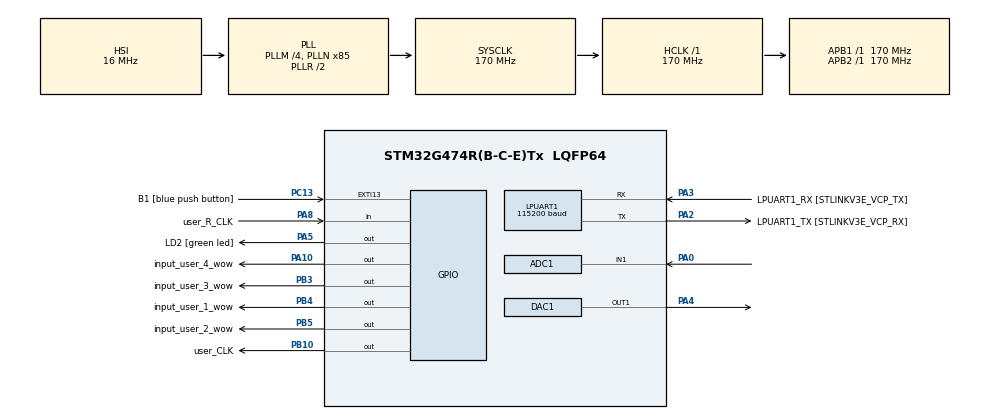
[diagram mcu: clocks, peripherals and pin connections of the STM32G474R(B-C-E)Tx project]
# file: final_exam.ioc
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ADC1.Channel-0\#ChannelRegularConversion=ADC_CHANNEL_1
ADC1.NbrOfConversionFlag=1
ADC1.OffsetNumber-0\#ChannelRegularConversion=ADC_OFFSET_NONE
ADC1.Rank-0\#ChannelRegularConversion=1
ADC1.SamplingTime-0\#ChannelRegularConversion=ADC_SAMPLETIME_2CYCLES_5
ADC1.master=1
LPUART1.BaudRate=115200
LPUART1.WordLength=UART_WORDLENGTH_8B
Mcu.Family=STM32G4
Mcu.Name=STM32G474R(B-C-E)Tx
Mcu.Package=LQFP64
NVIC.EXTI15_10_IRQn=true\:0\:0\:false\:false\:true\:true\:true\:true
NVIC.PriorityGroup=NVIC_PRIORITYGROUP_4
PA0.Mode=IN1-Single-Ended
PA0.Signal=ADC1_IN1
PA10.GPIO_Label=input_user_4_wow
PA10.GPIO_ModeDefaultOutputPP=GPIO_MODE_OUTPUT_OD
PA10.GPIO_PuPd=GPIO_PULLUP
PA10.Signal=GPIO_Output
PA13.GPIO_Label=T_SWDIO
PA13.Mode=Serial_Wire
PA13.Signal=SYS_JTMS-SWDIO
PA14.GPIO_Label=T_SWCLK
PA14.Mode=Serial_Wire
PA14.Signal=SYS_JTCK-SWCLK
PA2.GPIO_Label=LPUART1_TX [STLINKV3E_VCP_RX]
PA2.Mode=Asynchronous
PA2.Signal=LPUART1_TX
PA3.GPIO_Label=LPUART1_RX [STLINKV3E_VCP_TX]
PA3.Mode=Asynchronous
PA3.Signal=LPUART1_RX
PA4.Signal=COMP_DAC11_group
PA5.GPIO_Label=LD2 [green led]
PA5.GPIO_ModeDefaultOutputPP=GPIO_MODE_OUTPUT_OD
PA5.GPIO_PuPd=GPIO_PULLUP
PA5.Signal=GPIO_Output
PA8.GPIO_Label=user_R_CLK
PA8.Signal=GPIO_Input
PB10.GPIO_Label=user_CLK
PB10.Signal=GPIO_Output
PB3.GPIO_Label=input_user_3_wow
PB3.GPIO_ModeDefaultOutputPP=GPIO_MODE_OUTPUT_OD
PB3.GPIO_PuPd=GPIO_PULLUP
PB3.Signal=GPIO_Output
PB4.GPIO_Label=input_user_1_wow
PB4.GPIO_ModeDefaultOutputPP=GPIO_MODE_OUTPUT_OD
PB4.GPIO_PuPd=GPIO_PULLUP
PB4.Signal=GPIO_Output
PB5.GPIO_Label=input_user_2_wow
PB5.GPIO_ModeDefaultOutputPP=GPIO_MODE_OUTPUT_OD
PB5.GPIO_PuPd=GPIO_PULLUP
PB5.Signal=GPIO_Output
PC13.GPIO_Label=B1 [blue push button]
PC13.GPIO_PuPd=GPIO_PULLUP
PC13.Signal=GPXTI13
PC14-OSC32_IN.Mode=LSE-External-Oscillator
PC14-OSC32_IN.Signal=RCC_OSC32_IN
PC15-OSC32_OUT.Mode=LSE-External-Oscillator
PC15-OSC32_OUT.Signal=RCC_OSC32_OUT
PF0-OSC_IN.Mode=HSE-External-Oscillator
PF0-OSC_IN.Signal=RCC_OSC_IN
PF1-OSC_OUT.Mode=HSE-External-Oscillator
PF1-OSC_OUT.Signal=RCC_OSC_OUT
ProjectManager.HeapSize=0x200
ProjectManager.StackSize=0x400
ProjectManager.TargetToolchain=STM32CubeIDE
RCC.ADC12Freq_Value=170000000
RCC.ADC345Freq_Value=170000000
RCC.AHBFreq_Value=170000000
RCC.APB1Freq_Value=170000000
RCC.APB1TimFreq_Value=170000000
RCC.APB2Freq_Value=170000000
RCC.APB2TimFreq_Value=170000000
RCC.CortexFreq_Value=170000000
RCC.EXTERNAL_CLOCK_VALUE=12288000
RCC.HCLKFreq_Value=170000000
RCC.HSE_VALUE=24000000
RCC.HSI48_VALUE=48000000
RCC.HSI_VALUE=16000000
RCC.PLLM=RCC_PLLM_DIV4
RCC.PLLN=85
RCC.RTCClockSelection=RCC_RTCCLKSOURCE_LSE
RCC.SYSCLKFreq_VALUE=170000000
RCC.SYSCLKSource=RCC_SYSCLKSOURCE_PLLCLK
RCC.USBFreq_Value=170000000
RCC.VCOOutputFreq_Value=340000000
SH.COMP_DAC11_group.0=DAC1_OUT1,DAC_OUT1
VP_SYS_VS_DBSignals.Mode=DisableDeadBatterySignals
board=NUCLEO-G474RE

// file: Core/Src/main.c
/* USER CODE BEGIN Header */
/**
  ******************************************************************************
  * @file           : main.c
  * @brief          : Main program body
  ******************************************************************************
  * @attention
  *
  * Copyright (c) 2023 STMicroelectronics.
  * All rights reserved.
  *
  * This software is licensed under terms that can be found in the LICENSE file
  * in the root directory of this software component.
  * If no LICENSE file comes with this software, it is provided AS-IS.
  *
  ******************************************************************************
  */
/* USER CODE END Header */
#include "main.h"

ADC_HandleTypeDef hadc1;

DAC_HandleTypeDef hdac1;

UART_HandleTypeDef hlpuart1;

/* USER CODE BEGIN PV */
uint16_t DAC_Output=0;
const uint8_t myID = 54;
const uint8_t cal_myID = (myID *73) % 100;
uint16_t ID_bit = (myID*100) + cal_myID;
int bit[4] = {};
int a[4] = {};
uint16_t temp = 0;
int j = 0;
uint16_t harn = 0;
int p2 = 3;
int o2 = 0;
unit_32_t Scret_code = 0;
/* USER CODE BEGIN PV */
struct _ADC_tag
{
ADC_ChannelConfTypeDef Config;
uint16_t data;
};
struct _ADC_tag ADC1_Channel[1] =
{
{
.Config.Channel = ADC_CHANNEL_1,
.Config.Rank = ADC_REGULAR_RANK_1,
.Config.SamplingTime = ADC_SAMPLETIME_640CYCLES_5,
.Config.SingleDiff = ADC_SINGLE_ENDED,
.Config.OffsetNumber = ADC_OFFSET_NONE,
.Config.Offset = 0,
.data = 0
}
};

/* USER CODE END PV */

void SystemClock_Config(void);
static void MX_GPIO_Init(void);
static void MX_LPUART1_UART_Init(void);
static void MX_ADC1_Init(void);
static void MX_DAC1_Init(void);
/* USER CODE BEGIN PFP */
void DAC_Update();
void ADC_Read_blocking();
/* USER CODE END PFP */

int main(void)
{

  /* MCU Configuration--------------------------------------------------------*/

  /* Reset of all peripherals, Initializes the Flash interface and the Systick. */
  HAL_Init();

  /* Configure the system clock */
  SystemClock_Config();

  /* Initialize all configured peripherals */
  MX_GPIO_Init();
  MX_LPUART1_UART_Init();
  MX_ADC1_Init();
  MX_DAC1_Init();
  /* USER CODE BEGIN 2 */
  HAL_DAC_SetValue(&hdac1, DAC_CHANNEL_1, DAC_ALIGN_12B_R, 2048);
  HAL_DAC_Start(&hdac1, DAC_CHANNEL_1);
  HAL_ADCEx_Calibration_Start(&hadc1, ADC_SINGLE_ENDED);
  /* USER CODE END 2 */

  /* Infinite loop */
  /* USER CODE BEGIN WHILE */
  for(int p = 0;p <= 4;p++)
  	  	{
  	  		bit[p2] = ID_bit % 10;
  	  		ID_bit = ID_bit / 10;
  	  		p2--;
  	 }
void task1()
{
  HAL_GPIO_WritePin(GPIOB, GPIO_PIN_10, 1);
  static uint32_t TimeStamp2 = 0;
  	  if( HAL_GetTick()<TimeStamp2) return;
  	  TimeStamp2 = HAL_GetTick()+100;
  for(int o = 0;o<= 4;o++)
	{
	  j = 0;
	  for(int i = 3;i>=0;i--)
	  {
		 a[j] = ((bit[o2]) >> i) & 1;
	  	 j++;
	  }
	  HAL_GPIO_WritePin(GPIOB, GPIO_PIN_4, a[0]);
	  HAL_GPIO_WritePin(GPIOB, GPIO_PIN_5, a[1]);
	  HAL_GPIO_WritePin(GPIOB, GPIO_PIN_3, a[2]);
	  HAL_GPIO_WritePin(GPIOA, GPIO_PIN_10, a[3]);

	  HAL_GPIO_WritePin(GPIOB, GPIO_PIN_10, 0);

	  static uint32_t TimeStamp = 0;
	  if( HAL_GetTick()<TimeStamp) return;
	  TimeStamp = HAL_GetTick()+100;

	  HAL_GPIO_WritePin(GPIOB, GPIO_PIN_10, 1);

	  static uint32_t TimeStamp2 = 0;
	  if( HAL_GetTick()<TimeStamp2) return;
	  TimeStamp2 = HAL_GetTick()+500;

//	  if (o2 == 4)
//	  {
//		  break;
//	  }
	  o2++;
	}
}
void task2()
{

	HAL_GPIO_WritePin(GPIOB, GPIO_PIN_4, RESET);
	HAL_GPIO_WritePin(GPIOB, GPIO_PIN_5, RESET);
	HAL_GPIO_WritePin(GPIOB, GPIO_PIN_3, RESET);
	HAL_GPIO_WritePin(GPIOA, GPIO_PIN_10, RESET);
	HAL_GPIO_ReadPin(GPIOA, GPIO_PIN_8);

	int s1 = HAL_GPIO_ReadPin(GPIOB, GPIO_PIN_4);
	int s2 =HAL_GPIO_ReadPin(GPIOB, GPIO_PIN_5);
	int s3 =HAL_GPIO_ReadPin(GPIOB, GPIO_PIN_3);
	int s4 =HAL_GPIO_ReadPin(GPIOA, GPIO_PIN_10);

	for(int o = 0;o<= 4;o++)
		{
		  j = 0;
		  for(int i = 3;i>=0;i--)
		  {
			 a[j] = ((bit[o2]) << i) & 1;
		  	 j++;
		  }

}
void task3()
{
	void DAC_Update()
	{
	static uint32_t timeStamp =0;
	if(HAL_GetTick()>timeStamp)
	{
	timeStamp = HAL_GetTick()+500;
	HAL_DAC_SetValue(&hdac1, DAC_CHANNEL_1, DAC_ALIGN_12B_R, DAC_Output);
	}
	}
	HAL_DAC_SetValue(&hdac1, DAC_CHANNEL_1, DAC_ALIGN_12B_R, 1.70);
	HAL_GPIO_WritePin(GPIOB, GPIO_PIN_10, 0);
	  static uint32_t TimeStamp = 0;
	  	  if( HAL_GetTick()<TimeStamp) return;
	  	  TimeStamp = HAL_GetTick()+100;
	HAL_GPIO_WritePin(GPIOB, GPIO_PIN_10, 1);
		  static uint32_t TimeStamp = 0;
			  if( HAL_GetTick()<TimeStamp) return;
			  TimeStamp = HAL_GetTick()+500;
  HAL_DAC_SetValue(&hdac1, DAC_CHANNEL_1, DAC_ALIGN_12B_R, 1.40);
	HAL_GPIO_WritePin(GPIOB, GPIO_PIN_10, 0);
	  static uint32_t TimeStamp2 = 0;
		  if( HAL_GetTick()<TimeStamp2) return;
		  TimeStamp2 = HAL_GetTick()+100;
	HAL_GPIO_WritePin(GPIOB, GPIO_PIN_10, 1);
		  static uint32_t TimeStamp2 = 0;
			  if( HAL_GetTick()<TimeStamp2) return;
			  TimeStamp2 = HAL_GetTick()+500;
	HAL_DAC_SetValue(&hdac1, DAC_CHANNEL_1, DAC_ALIGN_12B_R, 1.40);
		HAL_GPIO_WritePin(GPIOB, GPIO_PIN_10, 0);
		  static uint32_t TimeStamp2 = 0;
			  if( HAL_GetTick()<TimeStamp2) return;
			  TimeStamp2 = HAL_GetTick()+100;
	HAL_GPIO_WritePin(GPIOB, GPIO_PIN_10, 1);
		  static uint32_t TimeStamp2 = 0;
			  if( HAL_GetTick()<TimeStamp2) return;
			  TimeStamp2 = HAL_GetTick()+500;
	HAL_DAC_SetValue(&hdac1, DAC_CHANNEL_1, DAC_ALIGN_12B_R, 0.70);
		HAL_GPIO_WritePin(GPIOB, GPIO_PIN_10, 0);
	  static uint32_t TimeStamp2 = 0;
		  if( HAL_GetTick()<TimeStamp2) return;
		  TimeStamp2 = HAL_GetTick()+100;
	HAL_GPIO_WritePin(GPIOB, GPIO_PIN_10, 1);
		  static uint32_t TimeStamp2 = 0;
			  if( HAL_GetTick()<TimeStamp2) return;
			  TimeStamp2 = HAL_GetTick()+500;

}
void task4()
{
	ADC_Read_blocking();
}

  while (1)
  {
	  static uint32_t TimeStamp3 = 0;
	  if( HAL_GetTick()<TimeStamp3) return;
	  TimeStamp3 = HAL_GetTick()+100;
	  task3();
    /* USER CODE END WHILE */

  }
}

void SystemClock_Config(void)
{
  RCC_OscInitTypeDef RCC_OscInitStruct = {0};
  RCC_ClkInitTypeDef RCC_ClkInitStruct = {0};

  /** Configure the main internal regulator output voltage
  */
  HAL_PWREx_ControlVoltageScaling(PWR_REGULATOR_VOLTAGE_SCALE1_BOOST);

  /** Initializes the RCC Oscillators according to the specified parameters
  * in the RCC_OscInitTypeDef structure.
  */
  RCC_OscInitStruct.OscillatorType = RCC_OSCILLATORTYPE_HSI;
  RCC_OscInitStruct.HSIState = RCC_HSI_ON;
  RCC_OscInitStruct.HSICalibrationValue = RCC_HSICALIBRATION_DEFAULT;
  RCC_OscInitStruct.PLL.PLLState = RCC_PLL_ON;
  RCC_OscInitStruct.PLL.PLLSource = RCC_PLLSOURCE_HSI;
  RCC_OscInitStruct.PLL.PLLM = RCC_PLLM_DIV4;
  RCC_OscInitStruct.PLL.PLLN = 85;
  RCC_OscInitStruct.PLL.PLLP = RCC_PLLP_DIV2;
  RCC_OscInitStruct.PLL.PLLQ = RCC_PLLQ_DIV2;
  RCC_OscInitStruct.PLL.PLLR = RCC_PLLR_DIV2;
  if (HAL_RCC_OscConfig(&RCC_OscInitStruct) != HAL_OK)
  {
    Error_Handler();
  }

  /** Initializes the CPU, AHB and APB buses clocks
  */
  RCC_ClkInitStruct.ClockType = RCC_CLOCKTYPE_HCLK|RCC_CLOCKTYPE_SYSCLK
                              |RCC_CLOCKTYPE_PCLK1|RCC_CLOCKTYPE_PCLK2;
  RCC_ClkInitStruct.SYSCLKSource = RCC_SYSCLKSOURCE_PLLCLK;
  RCC_ClkInitStruct.AHBCLKDivider = RCC_SYSCLK_DIV1;
  RCC_ClkInitStruct.APB1CLKDivider = RCC_HCLK_DIV1;
  RCC_ClkInitStruct.APB2CLKDivider = RCC_HCLK_DIV1;

  if (HAL_RCC_ClockConfig(&RCC_ClkInitStruct, FLASH_LATENCY_4) != HAL_OK)
  {
    Error_Handler();
  }
}

static void MX_ADC1_Init(void)
{

  ADC_MultiModeTypeDef multimode = {0};
  ADC_ChannelConfTypeDef sConfig = {0};

  /** Common config
  */
  hadc1.Instance = ADC1;
  hadc1.Init.ClockPrescaler = ADC_CLOCK_SYNC_PCLK_DIV4;
  hadc1.Init.Resolution = ADC_RESOLUTION_12B;
  hadc1.Init.DataAlign = ADC_DATAALIGN_RIGHT;
  hadc1.Init.GainCompensation = 0;
  hadc1.Init.ScanConvMode = ADC_SCAN_DISABLE;
  hadc1.Init.EOCSelection = ADC_EOC_SINGLE_CONV;
  hadc1.Init.LowPowerAutoWait = DISABLE;
  hadc1.Init.ContinuousConvMode = DISABLE;
  hadc1.Init.NbrOfConversion = 1;
  hadc1.Init.DiscontinuousConvMode = DISABLE;
  hadc1.Init.ExternalTrigConv = ADC_SOFTWARE_START;
  hadc1.Init.ExternalTrigConvEdge = ADC_EXTERNALTRIGCONVEDGE_NONE;
  hadc1.Init.DMAContinuousRequests = DISABLE;
  hadc1.Init.Overrun = ADC_OVR_DATA_PRESERVED;
  hadc1.Init.OversamplingMode = DISABLE;
  if (HAL_ADC_Init(&hadc1) != HAL_OK)
  {
    Error_Handler();
  }

  /** Configure the ADC multi-mode
  */
  multimode.Mode = ADC_MODE_INDEPENDENT;
  if (HAL_ADCEx_MultiModeConfigChannel(&hadc1, &multimode) != HAL_OK)
  {
    Error_Handler();
  }

  /** Configure Regular Channel
  */
  sConfig.Channel = ADC_CHANNEL_1;
  sConfig.Rank = ADC_REGULAR_RANK_1;
  sConfig.SamplingTime = ADC_SAMPLETIME_2CYCLES_5;
  sConfig.SingleDiff = ADC_SINGLE_ENDED;
  sConfig.OffsetNumber = ADC_OFFSET_NONE;
  sConfig.Offset = 0;
  if (HAL_ADC_ConfigChannel(&hadc1, &sConfig) != HAL_OK)
  {
    Error_Handler();
  }

}

static void MX_DAC1_Init(void)
{

  DAC_ChannelConfTypeDef sConfig = {0};

  /** DAC Initialization
  */
  hdac1.Instance = DAC1;
  if (HAL_DAC_Init(&hdac1) != HAL_OK)
  {
    Error_Handler();
  }

  /** DAC channel OUT1 config
  */
  sConfig.DAC_HighFrequency = DAC_HIGH_FREQUENCY_INTERFACE_MODE_AUTOMATIC;
  sConfig.DAC_DMADoubleDataMode = DISABLE;
  sConfig.DAC_SignedFormat = DISABLE;
  sConfig.DAC_SampleAndHold = DAC_SAMPLEANDHOLD_DISABLE;
  sConfig.DAC_Trigger = DAC_TRIGGER_NONE;
  sConfig.DAC_Trigger2 = DAC_TRIGGER_NONE;
  sConfig.DAC_OutputBuffer = DAC_OUTPUTBUFFER_ENABLE;
  sConfig.DAC_ConnectOnChipPeripheral = DAC_CHIPCONNECT_EXTERNAL;
  sConfig.DAC_UserTrimming = DAC_TRIMMING_FACTORY;
  if (HAL_DAC_ConfigChannel(&hdac1, &sConfig, DAC_CHANNEL_1) != HAL_OK)
  {
    Error_Handler();
  }

}

static void MX_LPUART1_UART_Init(void)
{

  hlpuart1.Instance = LPUART1;
  hlpuart1.Init.BaudRate = 115200;
  hlpuart1.Init.WordLength = UART_WORDLENGTH_8B;
  hlpuart1.Init.StopBits = UART_STOPBITS_1;
  hlpuart1.Init.Parity = UART_PARITY_NONE;
  hlpuart1.Init.Mode = UART_MODE_TX_RX;
  hlpuart1.Init.HwFlowCtl = UART_HWCONTROL_NONE;
  hlpuart1.Init.OneBitSampling = UART_ONE_BIT_SAMPLE_DISABLE;
  hlpuart1.Init.ClockPrescaler = UART_PRESCALER_DIV1;
  hlpuart1.AdvancedInit.AdvFeatureInit = UART_ADVFEATURE_NO_INIT;
  if (HAL_UART_Init(&hlpuart1) != HAL_OK)
  {
    Error_Handler();
  }
  if (HAL_UARTEx_SetTxFifoThreshold(&hlpuart1, UART_TXFIFO_THRESHOLD_1_8) != HAL_OK)
  {
    Error_Handler();
  }
  if (HAL_UARTEx_SetRxFifoThreshold(&hlpuart1, UART_RXFIFO_THRESHOLD_1_8) != HAL_OK)
  {
    Error_Handler();
  }
  if (HAL_UARTEx_DisableFifoMode(&hlpuart1) != HAL_OK)
  {
    Error_Handler();
  }

}

static void MX_GPIO_Init(void)
{
  GPIO_InitTypeDef GPIO_InitStruct = {0};

  /* GPIO Ports Clock Enable */
  __HAL_RCC_GPIOC_CLK_ENABLE();
  __HAL_RCC_GPIOF_CLK_ENABLE();
  __HAL_RCC_GPIOA_CLK_ENABLE();
  __HAL_RCC_GPIOB_CLK_ENABLE();

  /*Configure GPIO pin Output Level */
  HAL_GPIO_WritePin(GPIOA, LD2_Pin|input_user_4_wow_Pin, GPIO_PIN_RESET);

  /*Configure GPIO pin Output Level */
  HAL_GPIO_WritePin(GPIOB, user_CLK_Pin|input_user_3_wow_Pin|input_user_1_wow_Pin|input_user_2_wow_Pin, GPIO_PIN_RESET);

  /*Configure GPIO pin : B1_Pin */
  GPIO_InitStruct.Pin = B1_Pin;
  GPIO_InitStruct.Mode = GPIO_MODE_IT_RISING;
  GPIO_InitStruct.Pull = GPIO_PULLUP;
  HAL_GPIO_Init(B1_GPIO_Port, &GPIO_InitStruct);

  /*Configure GPIO pins : LD2_Pin input_user_4_wow_Pin */
  GPIO_InitStruct.Pin = LD2_Pin|input_user_4_wow_Pin;
  GPIO_InitStruct.Mode = GPIO_MODE_OUTPUT_OD;
  GPIO_InitStruct.Pull = GPIO_PULLUP;
  GPIO_InitStruct.Speed = GPIO_SPEED_FREQ_LOW;
  HAL_GPIO_Init(GPIOA, &GPIO_InitStruct);

  /*Configure GPIO pin : user_CLK_Pin */
  GPIO_InitStruct.Pin = user_CLK_Pin;
  GPIO_InitStruct.Mode = GPIO_MODE_OUTPUT_PP;
  GPIO_InitStruct.Pull = GPIO_NOPULL;
  GPIO_InitStruct.Speed = GPIO_SPEED_FREQ_LOW;
  HAL_GPIO_Init(user_CLK_GPIO_Port, &GPIO_InitStruct);

  /*Configure GPIO pin : user_R_CLK_Pin */
  GPIO_InitStruct.Pin = user_R_CLK_Pin;
  GPIO_InitStruct.Mode = GPIO_MODE_INPUT;
  GPIO_InitStruct.Pull = GPIO_NOPULL;
  HAL_GPIO_Init(user_R_CLK_GPIO_Port, &GPIO_InitStruct);

  /*Configure GPIO pins : input_user_3_wow_Pin input_user_1_wow_Pin input_user_2_wow_Pin */
  GPIO_InitStruct.Pin = input_user_3_wow_Pin|input_user_1_wow_Pin|input_user_2_wow_Pin;
  GPIO_InitStruct.Mode = GPIO_MODE_OUTPUT_OD;
  GPIO_InitStruct.Pull = GPIO_PULLUP;
  GPIO_InitStruct.Speed = GPIO_SPEED_FREQ_LOW;
  HAL_GPIO_Init(GPIOB, &GPIO_InitStruct);

  /* EXTI interrupt init*/
  HAL_NVIC_SetPriority(EXTI15_10_IRQn, 0, 0);
  HAL_NVIC_EnableIRQ(EXTI15_10_IRQn);

}

/* USER CODE BEGIN 4 */
void ADC_Read_blocking()
{
static uint32_t TimeStamp = 0;
if( HAL_GetTick()<TimeStamp) return;
TimeStamp = HAL_GetTick()+500;
for(int i=0;i<2;i++)
{
HAL_ADC_ConfigChannel(&hadc1, &ADC1_Channel[i].Config);
HAL_ADC_Start(&hadc1);
HAL_ADC_PollForConversion(&hadc1, 100);
ADC1_Channel[i].data = HAL_ADC_GetValue(&hadc1);
HAL_ADC_Stop(&hadc1);
}
}
/* USER CODE END 4 */

void Error_Handler(void)
{
  __disable_irq();
  while (1)
  {
  }
}
